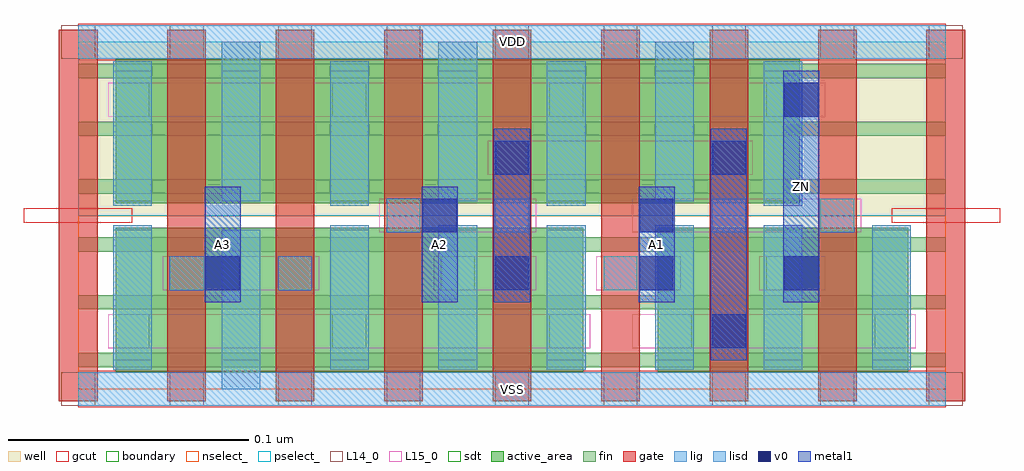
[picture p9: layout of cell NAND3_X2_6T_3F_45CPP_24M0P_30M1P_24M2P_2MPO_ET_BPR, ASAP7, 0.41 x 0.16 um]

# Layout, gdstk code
import gdstk
lib = gdstk.Library(unit=1e-6, precision=2.5e-10)
def R(c, l, rs):  # rectangles x0, y0, x1, y1
    for r in rs: c.add(gdstk.rectangle(r[:2], r[2:], *l))
def A(c, l, x, y, w, h, nx, ny, dx, dy):  # array of equal rectangles
    R(c, l, [(x+i*dx, y+j*dy, x+i*dx+w, y+j*dy+h) for i in range(nx) for j in range(ny)])
well = (1, 0)
fin = (2, 0)
gate = (7, 0)
gcut = (10, 0)
active_area = (11, 0)
nselect_ = (12, 0)
pselect_ = (13, 0)
L14_0 = (14, 0)
L15_0 = (15, 0)
lig = (16, 0)
lisd = (17, 0)
v0 = (18, 0)
metal1 = (19, 0)
sdt = (88, 0)
boundary = (100, 0)

nand3_x2_6t_3f_45cpp_24m = lib.new_cell('NAND3_X2_6T_3F_45CPP_24M0P_30M1P_24M2P_2MPO_ET_BPR')
R(nand3_x2_6t_3f_45cpp_24m, well, [(0,0.072,0.36,0.144)])
A(nand3_x2_6t_3f_45cpp_24m, fin, 0, 0.009, 0.36, 0.006, 1, 6, 0, 0.024)
A(nand3_x2_6t_3f_45cpp_24m, gate, -0.008, -0.005, 0.016, 0.154, 9, 1, 0.045, 0)
R(nand3_x2_6t_3f_45cpp_24m, gcut, [(0,-0.0075,0.36,0.0075), (-0.0225,0.069,0.0225,0.075), (0.3375,0.069,0.3825,0.075), (0,0.1365,0.36,0.1515)])
A(nand3_x2_6t_3f_45cpp_24m, active_area, 0.0155, 0.077, 0.104, 0.06, 3, 1, 0.09, 0)
R(nand3_x2_6t_3f_45cpp_24m, active_area, [(0.0155,0.007,0.1195,0.067), (0.1055,0.007,0.2095,0.067), (0.2405,0.007,0.3445,0.067)])
R(nand3_x2_6t_3f_45cpp_24m, nselect_, [(0,0,0.36,0.072)])
R(nand3_x2_6t_3f_45cpp_24m, pselect_, [(0,0.072,0.36,0.144)])
A(nand3_x2_6t_3f_45cpp_24m, L14_0, -0.007, -0.007, 0.014, 0.014, 9, 2, 0.045, 0.144)
A(nand3_x2_6t_3f_45cpp_24m, L14_0, 0.0155, 0.017, 0.014, 0.014, 3, 1, 0.09, 0)
A(nand3_x2_6t_3f_45cpp_24m, L14_0, 0.083, 0.041, 0.014, 0.014, 4, 1, 0.0675, 0)
A(nand3_x2_6t_3f_45cpp_24m, L14_0, 0.0155, 0.113, 0.014, 0.014, 4, 1, 0.09, 0)
R(nand3_x2_6t_3f_45cpp_24m, L14_0, [(0.2405,0.017,0.2545,0.031), (0.3305,0.017,0.3445,0.031), (0.038,0.041,0.052,0.055), (0.128,0.065,0.142,0.079), (0.173,0.065,0.187,0.079), (0.263,0.065,0.277,0.079), (0.308,0.065,0.322,0.079)])
R(nand3_x2_6t_3f_45cpp_24m, L15_0, [(0,-0.007,0.36,0.007), (0.0125,0.017,0.2125,0.031), (0.23,0.017,0.3475,0.031), (0.035,0.041,0.1,0.055), (0.1475,0.041,0.19,0.055), (0.215,0.041,0.25,0.055), (0.2825,0.041,0.31,0.055), (0.125,0.065,0.19,0.079), (0.23,0.065,0.325,0.079), (0.17,0.089,0.28,0.103), (0.0125,0.113,0.31,0.127), (0,0.137,0.36,0.151)])
R(nand3_x2_6t_3f_45cpp_24m, lig, [(0,-0.007,0.36,0.007), (0.038,0.041,0.052,0.055), (0.083,0.041,0.097,0.055), (0.218,0.041,0.232,0.055), (0.128,0.065,0.142,0.079), (0.173,0.065,0.187,0.079), (0.263,0.065,0.277,0.079), (0.308,0.065,0.322,0.079), (0,0.137,0.36,0.151)])
A(nand3_x2_6t_3f_45cpp_24m, lisd, 0.1045, 0.008, 0.016, 0.06, 6, 1, 0.045, 0)
A(nand3_x2_6t_3f_45cpp_24m, lisd, 0.0145, 0.076, 0.016, 0.06, 4, 1, 0.09, 0)
A(nand3_x2_6t_3f_45cpp_24m, lisd, 0.0595, 0.078, 0.016, 0.066, 3, 1, 0.09, 0)
R(nand3_x2_6t_3f_45cpp_24m, lisd, [(0.0595,0,0.0755,0.066), (0.0145,0.008,0.0305,0.068)])
A(nand3_x2_6t_3f_45cpp_24m, v0, 0.173, 0.041, 0.014, 0.014, 3, 1, 0.06, 0)
R(nand3_x2_6t_3f_45cpp_24m, v0, [(0.263,0.017,0.277,0.031), (0.053,0.041,0.067,0.055), (0.143,0.065,0.157,0.079), (0.233,0.065,0.247,0.079), (0.173,0.089,0.187,0.103), (0.263,0.089,0.277,0.103), (0.293,0.113,0.307,0.127)])
A(nand3_x2_6t_3f_45cpp_24m, metal1, 0.0525, 0.036, 0.015, 0.048, 3, 1, 0.09, 0)
R(nand3_x2_6t_3f_45cpp_24m, metal1, [(0.2625,0.012,0.2775,0.108), (0.1725,0.036,0.1875,0.108), (0.2925,0.036,0.3075,0.132)])
A(nand3_x2_6t_3f_45cpp_24m, sdt, 0.0145, 0.012, 0.016, 0.054, 8, 1, 0.045, 0)
A(nand3_x2_6t_3f_45cpp_24m, sdt, 0.0145, 0.078, 0.016, 0.054, 7, 1, 0.045, 0)
R(nand3_x2_6t_3f_45cpp_24m, boundary, [(0,0,0.36,0.144)])
nand3_x2_6t_3f_45cpp_24m.add(gdstk.Label('A1', (0.24,0.06), layer=19, texttype=251))
nand3_x2_6t_3f_45cpp_24m.add(gdstk.Label('ZN', (0.3,0.084), layer=19, texttype=251))
nand3_x2_6t_3f_45cpp_24m.add(gdstk.Label('A2', (0.15,0.06), layer=19, texttype=251))
nand3_x2_6t_3f_45cpp_24m.add(gdstk.Label('A3', (0.06,0.06), layer=19, texttype=251))
nand3_x2_6t_3f_45cpp_24m.add(gdstk.Label('VDD', (0.18,0.144), layer=15, texttype=251))
nand3_x2_6t_3f_45cpp_24m.add(gdstk.Label('VSS', (0.18,0), layer=15, texttype=251))
nand3_x2_6t_3f_45cpp_24m.add(gdstk.Label('VDD', (0.18,0.144), layer=1, texttype=251))
nand3_x2_6t_3f_45cpp_24m.add(gdstk.Label('VSS', (0.18,0), layer=3, texttype=251))

lib.write_gds('NAND3_X2_6T_3F_45CPP_24M0P_30M1P_24M2P_2MPO_ET_BPR.gds')
